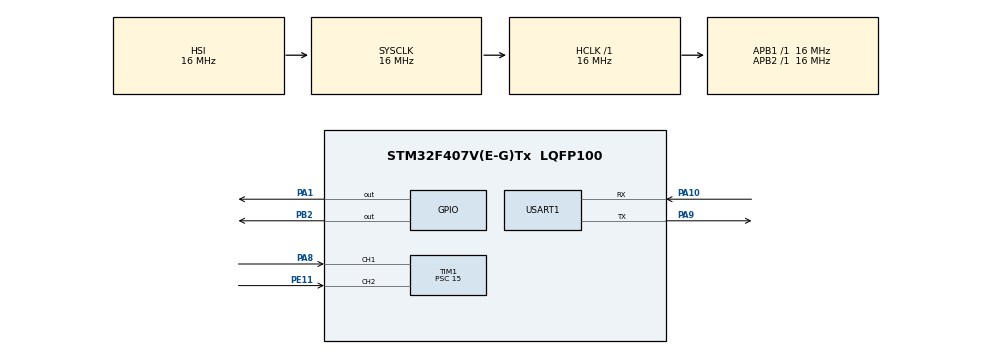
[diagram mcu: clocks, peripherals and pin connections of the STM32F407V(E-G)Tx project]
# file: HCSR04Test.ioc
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Mcu.Family=STM32F4
Mcu.Name=STM32F407V(E-G)Tx
Mcu.Package=LQFP100
NVIC.PriorityGroup=NVIC_PRIORITYGROUP_4
PA1.Signal=GPIO_Output
PA10.Mode=Asynchronous
PA10.Signal=USART1_RX
PA13.Mode=Serial_Wire
PA13.Signal=SYS_JTMS-SWDIO
PA14.Mode=Serial_Wire
PA14.Signal=SYS_JTCK-SWCLK
PA8.Signal=S_TIM1_CH1
PA9.Mode=Asynchronous
PA9.Signal=USART1_TX
PB2.Signal=GPIO_Output
PE11.Signal=S_TIM1_CH2
ProjectManager.HeapSize=0x200
ProjectManager.StackSize=0x400
ProjectManager.TargetToolchain=MDK-ARM V5.32
RCC.AHBFreq_Value=16000000
RCC.APB1Freq_Value=16000000
RCC.APB2Freq_Value=16000000
RCC.CortexFreq_Value=16000000
RCC.HSE_VALUE=25000000
RCC.HSI_VALUE=16000000
RCC.LSE_VALUE=32768
RCC.SYSCLKFreq_VALUE=16000000
RCC.VCOOutputFreq_Value=192000000
SH.S_TIM1_CH1.0=TIM1_CH1,Input_Capture1_from_TI1
SH.S_TIM1_CH2.0=TIM1_CH2,Input_Capture2_from_TI2
TIM1.AutoReloadPreload=TIM_AUTORELOAD_PRELOAD_ENABLE
TIM1.Channel-Input_Capture1_from_TI1=TIM_CHANNEL_1
TIM1.Channel-Input_Capture2_from_TI2=TIM_CHANNEL_2
TIM1.ICFilter_CH1=3
TIM1.ICFilter_CH2=0
TIM1.ICPolarity_CH2=TIM_INPUTCHANNELPOLARITY_FALLING
TIM1.Prescaler=15
USART1.VirtualMode=VM_ASYNC
VP_TIM1_VS_ClockSourceINT.Mode=Internal
board=custom

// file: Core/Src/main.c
/* USER CODE BEGIN Header */
/**
  ******************************************************************************
  * @file           : main.c
  * @brief          : Main program body
  ******************************************************************************
  * @attention
  *
  * Copyright (c) 2026 STMicroelectronics.
  * All rights reserved.
  *
  * This software is licensed under terms that can be found in the LICENSE file
  * in the root directory of this software component.
  * If no LICENSE file comes with this software, it is provided AS-IS.
  *
  ******************************************************************************
  */
/* USER CODE END Header */
#include "main.h"
#include "tim.h"
#include "usart.h"
#include "gpio.h"

/* USER CODE BEGIN Includes */
#include <stdio.h>
/* USER CODE END Includes */

void SystemClock_Config(void);

/* USER CODE BEGIN 0 */
void DWT_Init(void) {
    CoreDebug->DEMCR |= CoreDebug_DEMCR_TRCENA_Msk;
    DWT->CYCCNT = 0;
    DWT->CTRL |= DWT_CTRL_CYCCNTENA_Msk;
}

void delay_us(uint32_t us) {
    uint32_t start = DWT->CYCCNT;
    uint32_t ticks = us * (HAL_RCC_GetHCLKFreq() / 1000000);
    while ((DWT->CYCCNT - start) < ticks);
}
/* USER CODE END 0 */

int main(void)
{

  /* MCU Configuration--------------------------------------------------------*/

  /* Reset of all peripherals, Initializes the Flash interface and the Systick. */
  HAL_Init();

  /* Configure the system clock */
  SystemClock_Config();

  /* Initialize all configured peripherals */
  MX_GPIO_Init();
  MX_TIM1_Init();
  MX_USART1_UART_Init();
  /* USER CODE BEGIN 2 */
	DWT_Init();
	HAL_Delay(2000);  // 等模块上电稳定
  /* USER CODE END 2 */

  /* Infinite loop */
  /* USER CODE BEGIN WHILE */
  while (1)
  {
		char buf[64];
    uint8_t len;

    // 测试串口
    HAL_UART_Transmit(&huart1, (uint8_t*)"loop start\r\n", 12, 100);
		__HAL_TIM_SET_COUNTER(&htim1,0);
		__HAL_TIM_CLEAR_FLAG(&htim1,TIM_FLAG_CC1);
		__HAL_TIM_CLEAR_FLAG(&htim1,TIM_FLAG_CC2);
		HAL_TIM_IC_Start(&htim1,TIM_CHANNEL_1);
		HAL_TIM_IC_Start(&htim1,TIM_CHANNEL_2);
		HAL_GPIO_WritePin(GPIOA,GPIO_PIN_1,GPIO_PIN_SET);
		delay_us(20);
		//for(uint16_t i=0;i<10;i++);
		//HAL_Delay(1);
		HAL_GPIO_WritePin(GPIOA,GPIO_PIN_1,GPIO_PIN_RESET);
		uint16_t success=0;
		uint32_t expiretime=HAL_GetTick()+50;
		while(expiretime>HAL_GetTick())
		{

			uint32_t cc1_Flag=__HAL_TIM_GET_FLAG(&htim1,TIM_FLAG_CC1);
			uint32_t cc2_Flag=__HAL_TIM_GET_FLAG(&htim1,TIM_FLAG_CC2);
			if(cc2_Flag&&cc1_Flag)
			{
				success=1;
				break;
			}
		}
		HAL_TIM_IC_Stop(&htim1,TIM_CHANNEL_1);
		HAL_TIM_IC_Stop(&htim1,TIM_CHANNEL_2);

		if(success==1)
		{
			uint32_t ccr1=__HAL_TIM_GET_COMPARE(&htim1,TIM_CHANNEL_1);
			uint32_t ccr2=__HAL_TIM_GET_COMPARE(&htim1,TIM_CHANNEL_2);

			uint32_t diff;
			if (ccr2 >= ccr1)
				{
					diff = ccr2 - ccr1;
				}
			else
				{
					diff = (65536 - ccr1) + ccr2;
				}
			float pulse = diff * 1e-6f;
//		float pulse=(ccr2-ccr1)*1e-6f;
			float distance=340.0f*pulse/2.0f;
			len = sprintf(buf, "CCR1=%u CCR2=%u dist=%.2fcm\r\n", ccr1, ccr2, distance * 100);
			HAL_UART_Transmit(&huart1, (uint8_t*)buf, len, 100);
			if(distance<=0.2f)
			{
				HAL_GPIO_WritePin(GPIOB,GPIO_PIN_2,GPIO_PIN_SET);
			}
			else
			{
				HAL_GPIO_WritePin(GPIOB,GPIO_PIN_2,GPIO_PIN_RESET);
			}
		}
		else
		{
    HAL_UART_Transmit(&huart1, (uint8_t*)"timeout!\r\n", 10, 100);  // 加上超时打印，方便调试
		}

		HAL_Delay(1000);  // 每1秒测一次，调试阶段看清楚数据
    /* USER CODE END WHILE */

  }
}

void SystemClock_Config(void)
{
  RCC_OscInitTypeDef RCC_OscInitStruct = {0};
  RCC_ClkInitTypeDef RCC_ClkInitStruct = {0};

  /** Configure the main internal regulator output voltage
  */
  __HAL_RCC_PWR_CLK_ENABLE();
  __HAL_PWR_VOLTAGESCALING_CONFIG(PWR_REGULATOR_VOLTAGE_SCALE1);

  /** Initializes the RCC Oscillators according to the specified parameters
  * in the RCC_OscInitTypeDef structure.
  */
  RCC_OscInitStruct.OscillatorType = RCC_OSCILLATORTYPE_HSI;
  RCC_OscInitStruct.HSIState = RCC_HSI_ON;
  RCC_OscInitStruct.HSICalibrationValue = RCC_HSICALIBRATION_DEFAULT;
  RCC_OscInitStruct.PLL.PLLState = RCC_PLL_NONE;
  if (HAL_RCC_OscConfig(&RCC_OscInitStruct) != HAL_OK)
  {
    Error_Handler();
  }

  /** Initializes the CPU, AHB and APB buses clocks
  */
  RCC_ClkInitStruct.ClockType = RCC_CLOCKTYPE_HCLK|RCC_CLOCKTYPE_SYSCLK
                              |RCC_CLOCKTYPE_PCLK1|RCC_CLOCKTYPE_PCLK2;
  RCC_ClkInitStruct.SYSCLKSource = RCC_SYSCLKSOURCE_HSI;
  RCC_ClkInitStruct.AHBCLKDivider = RCC_SYSCLK_DIV1;
  RCC_ClkInitStruct.APB1CLKDivider = RCC_HCLK_DIV1;
  RCC_ClkInitStruct.APB2CLKDivider = RCC_HCLK_DIV1;

  if (HAL_RCC_ClockConfig(&RCC_ClkInitStruct, FLASH_LATENCY_0) != HAL_OK)
  {
    Error_Handler();
  }
}

void Error_Handler(void)
{
  __disable_irq();
  while (1)
  {
  }
}
